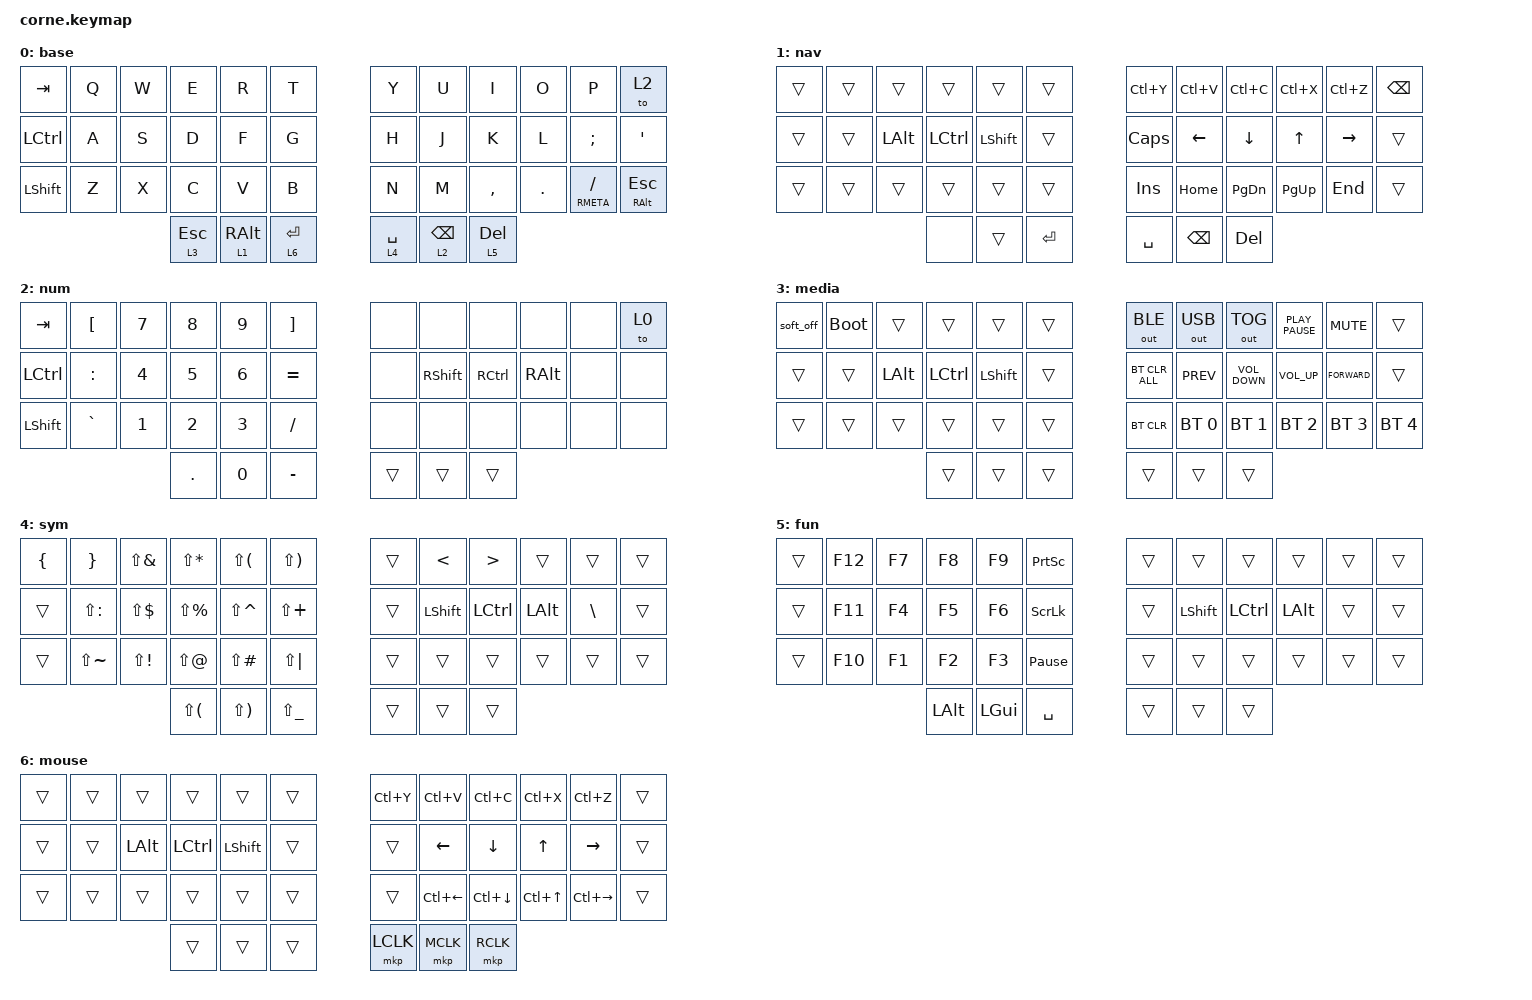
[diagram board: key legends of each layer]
/*
 * Copyright (c) 2020 The ZMK Contributors
 *
 * SPDX-License-Identifier: MIT
 */
#include <behaviors.dtsi>
#include <dt-bindings/zmk/bt.h>
#include <dt-bindings/zmk/keys.h>
#include <dt-bindings/zmk/outputs.h>
#include <dt-bindings/zmk/pointing.h>

/ {
    behaviors {
        hml: homewrow_mods_left {
            compatible = "zmk,behavior-hold-tap";
            label = "HOMEROW_MODS_LEFT_HAND";
            bindings = <&kp>, <&kp>;

            #binding-cells = <2>;
            tapping-term-ms = <200>;
            hold-trigger-key-positions = <6 8 7 19 18 30 31 32 20 9 21 33 34 22 10 11 23 35 41 40 39>;
        };

        hmr: homewrow_mods_right {
            compatible = "zmk,behavior-hold-tap";
            label = "HOMEROW_MODS_RIGHT_HAND";
            bindings = <&kp>, <&kp>;

            #binding-cells = <2>;
            tapping-term-ms = <200>;
            hold-trigger-key-positions = <0 1 2 3 4 5 12 13 14 15 16 17 24 25 26 27 28 29 36 37 38>;
        };
    };

    keymap {
        compatible = "zmk,keymap";

        base {
            // -----------------------------------------------------------------------------------------
            // |  TAB |  Q  |  W  |  E  |  R  |  T  |   |  Y  |  U   |  I  |  O  |  P  | BKSP |
            // | CTRL |  A  |  S  |  D  |  F  |  G  |   |  H  |  J   |  K  |  L  |  ;  |  '   |
            // | SHFT |  Z  |  X  |  C  |  V  |  B  |   |  N  |  M   |  ,  |  .  |  /  | ESC  |
            //                    | GUI | LWR | ENT |   | SPC | RSE  | ALT |

            bindings = <
&kp TAB    &kp Q  &kp W  &kp E         &kp R       &kp T          &kp Y        &kp U            &kp I      &kp O       &kp P            &to 2
&kp LCTRL  &kp A  &kp S  &kp D         &kp F       &kp G          &kp H        &kp J            &kp K      &kp L       &kp SEMICOLON    &kp SQT
&kp LSHFT  &kp Z  &kp X  &kp C         &kp V       &kp B          &kp N        &kp M            &kp COMMA  &kp PERIOD  &hmr RMETA FSLH  &hmr RALT ESCAPE
                         &lt 3 ESCAPE  &lt 1 RALT  &lt 6 ENTER    &lt 4 SPACE  &lt 2 BACKSPACE  &lt 5 DEL
            >;
        };

        nav {
            // -----------------------------------------------------------------------------------------
            // |  TAB |  1  |  2  |  3  |  4  |  5  |   |  6  |  7  |  8  |  9  |  0  | BKSP |
            // | BTCLR| BT1 | BT2 | BT3 | BT4 | BT5 |   | LFT | DWN |  UP | RGT |     |      |
            // | SHFT |     |     |     |     |     |   |     |     |     |     |     |      |
            //                    | GUI |     | SPC |   | ENT |     | ALT |

            bindings = <
&trans  &trans  &trans        &trans     &trans     &trans       &kp LC(Y)   &kp LC(V)       &kp LC(C)      &kp LC(X)     &kp LC(Z)  &kp BSPC
&trans  &trans  &kp LEFT_ALT  &kp LCTRL  &kp LSHFT  &trans       &kp CAPS    &kp LEFT_ARROW  &kp DOWN       &kp UP_ARROW  &kp RIGHT  &trans
&trans  &trans  &trans        &trans     &trans     &trans       &kp INSERT  &kp HOME        &kp PAGE_DOWN  &kp PAGE_UP   &kp END    &trans
                              &none      &trans     &kp ENTER    &kp SPACE   &kp BACKSPACE   &kp DEL
            >;
        };

        num {
            // -----------------------------------------------------------------------------------------
            // |  TAB |  !  |  @  |  #  |  $  |  %  |   |  ^  |  &  |  *  |  (  |  )  | BKSP |
            // | CTRL |     |     |     |     |     |   |  -  |  =  |  [  |  ]  |  \  |  `   |
            // | SHFT |     |     |     |     |     |   |  _  |  +  |  {  |  }  | "|" |  ~   |
            //                    | GUI |     | SPC |   | ENT |     | ALT |

            bindings = <
&kp TAB    &kp LEFT_BRACKET  &kp N7        &kp N8        &kp N9        &kp RIGHT_BRACKET    &none   &none            &none      &none          &none  &to 0
&kp LCTRL  &kp COLON         &kp NUMBER_4  &kp N5        &kp NUMBER_6  &kp EQUAL            &none   &kp RIGHT_SHIFT  &kp RCTRL  &kp RIGHT_ALT  &none  &none
&kp LSHFT  &kp GRAVE         &kp NUMBER_1  &kp NUMBER_2  &kp NUMBER_3  &kp SLASH            &none   &none            &none      &none          &none  &none
                                           &kp PERIOD    &kp N0        &kp MINUS            &trans  &trans           &trans
            >;
        };

        media {
            bindings = <
&soft_off  &bootloader  &trans        &trans     &trans          &trans    &out OUT_BLE    &out OUT_USB  &out OUT_TOG       &kp K_PLAY_PAUSE  &kp K_MUTE     &trans
&trans     &trans       &kp LEFT_ALT  &kp LCTRL  &kp LEFT_SHIFT  &trans    &bt BT_CLR_ALL  &kp K_PREV    &kp C_VOLUME_DOWN  &kp C_VOLUME_UP   &kp K_FORWARD  &trans
&trans     &trans       &trans        &trans     &trans          &trans    &bt BT_CLR      &bt BT_SEL 0  &bt BT_SEL 1       &bt BT_SEL 2      &bt BT_SEL 3   &bt BT_SEL 4
                                      &trans     &trans          &trans    &trans          &trans        &trans
            >;
        };

        sym {
            bindings = <
&kp LEFT_BRACE  &kp RIGHT_BRACE  &kp LS(AMPS)    &kp LS(STAR)   &kp LS(LPAR)   &kp LS(RPAR)     &trans  &kp LESS_THAN  &kp GREATER_THAN  &trans    &trans         &trans
&trans          &kp LS(COLON)    &kp LS(DOLLAR)  &kp LS(PRCNT)  &kp LS(CARET)  &kp LS(PLUS)     &trans  &kp LSHFT      &kp LCTRL         &kp LALT  &kp BACKSLASH  &trans
&trans          &kp LS(TILDE)    &kp LS(EXCL)    &kp LS(AT)     &kp LS(POUND)  &kp LS(PIPE)     &trans  &trans         &trans            &trans    &trans         &trans
                                                 &kp LS(LPAR)   &kp LS(RPAR)   &kp LS(UNDER)    &trans  &trans         &trans
            >;
        };

        fun {
            bindings = <
&trans  &kp F12  &kp F7  &kp F8    &kp F9    &kp PRINTSCREEN    &trans  &trans     &trans     &trans    &trans  &trans
&trans  &kp F11  &kp F4  &kp F5    &kp F6    &kp SCROLLLOCK     &trans  &kp LSHFT  &kp LCTRL  &kp LALT  &trans  &trans
&trans  &kp F10  &kp F1  &kp F2    &kp F3    &kp PAUSE_BREAK    &trans  &trans     &trans     &trans    &trans  &trans
                         &kp LALT  &kp LGUI  &kp SPACE          &trans  &trans     &trans
            >;
        };

        mouse {
            bindings = <
&trans  &trans  &trans    &trans     &trans     &trans    &kp LC(Y)  &kp LC(V)     &kp LC(C)     &kp LC(X)   &kp LC(Z)      &trans
&trans  &trans  &kp LALT  &kp LCTRL  &kp LSHFT  &trans    &trans     &kp LEFT      &kp DOWN      &kp UP      &kp RIGHT      &trans
&trans  &trans  &trans    &trans     &trans     &trans    &trans     &kp LC(LEFT)  &kp LC(DOWN)  &kp LC(UP)  &kp LC(RIGHT)  &trans
                          &trans     &trans     &trans    &mkp LCLK  &mkp MCLK     &mkp RCLK
            >;
        };
    };
};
